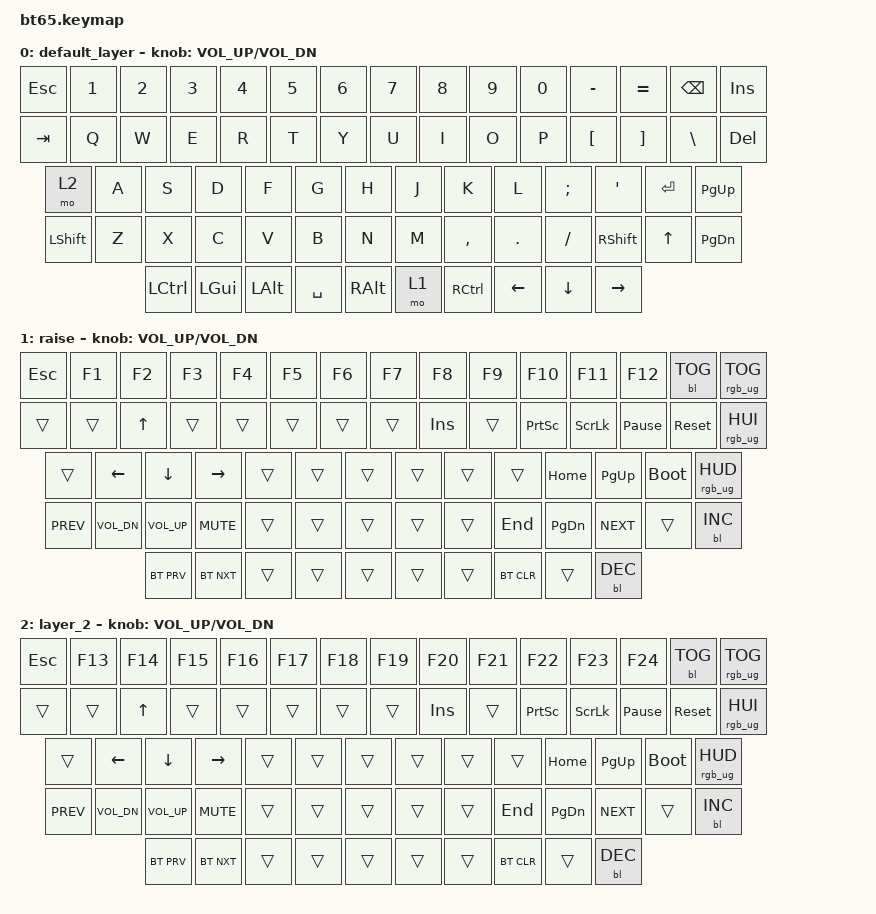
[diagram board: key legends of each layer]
#include <behaviors.dtsi>
#include <dt-bindings/zmk/keys.h>
#include <dt-bindings/zmk/bt.h>
#include <dt-bindings/zmk/rgb.h>
#include <dt-bindings/zmk/backlight.h>
#include <dt-bindings/zmk/ext_power.h>

&kscan0 {
    debounce-press-ms = <27>;
    debounce-release-ms = <3>;
};

/ {
	keymap {
		compatible = "zmk,keymap";

		default_layer {
				// ------------------------------------------------------------------------------------------------------------
				// |  `  |  1  |  2  |  3  |  4  |  5  |  6  |  7  |  8  |  9  |  0  |  -  |  =  |BKSP | INS		|
				// | TAB  |  Q  |  W  |  E  |  R  |  T  |  Y  |  U  |  I  |  O  |  P  |  [  |  ]  |   \    | DEL		|
				// | CAPS  |  A  |  S  |  D  |  F  |  G  |  H  |  J  |  K  |  L  |  ;  |  '  |     ENTER    |PGUP	|
				// |  SHIFT  |  Z  |  X  |  C  |  V  |  B  |  N  |  M  |  ,  |  .  | /   |   SHIFT  | UP   | PGDN|
				// |  CTL  |  WIN  |  ALT  |            SPACE               | ALT | 1    |  MENU| LEFT |  DOWN    | RIGHT	|
				// ------------------------------------------------------------------------------------------------------------
			bindings = <

				&kp ESC &kp N1 &kp N2 &kp N3 &kp N4 &kp N5 &kp N6 &kp N7 &kp  N8   &kp  N9   &kp N0 &kp MINUS &kp EQUAL &kp BKSP &kp INS
				&kp TAB  &kp Q  &kp W  &kp E  &kp R  &kp T  &kp Y  &kp U  &kp  I    &kp  O  &kp  P   &kp LBKT &kp RBKT  	&kp BSLH &kp DEL
				&mo 2  &kp A  &kp S  &kp D  &kp F  &kp G  &kp H  &kp J  &kp  K    &kp  L  &kp SEMI &kp SQT           	&kp RET &kp PG_UP
				&kp LSHFT &kp Z  &kp X  &kp C  &kp V  &kp B  &kp N  &kp M  &kp COMMA &kp DOT &kp FSLH   &kp RSHFT &kp UP &kp PG_DN
				&kp LCTRL &kp LGUI &kp LALT            &kp SPACE                          &kp RALT  &mo 1 &kp RCTRL &kp LEFT &kp DOWN &kp RIGHT
			>;
			sensor-bindings = <&inc_dec_kp C_VOL_UP C_VOL_DN>;
		};
		raise {
			bindings = <
				&kp ESC &kp F1 &kp F2 &kp F3 &kp F4 &kp F5 &kp F6 &kp F7 &kp  F8   &kp  F9   &kp F10  &kp F11 &kp F12 &bl BL_TOG &rgb_ug RGB_TOG
				&trans &trans &kp UP &trans &trans &trans &trans &trans &kp INS &trans &kp PSCRN &kp SLCK &kp PAUSE_BREAK &sys_reset &rgb_ug RGB_HUI
				&trans    &kp LEFT &kp DOWN &kp RIGHT &trans &trans &trans &trans &trans &trans &kp HOME  &kp PG_UP   &bootloader &rgb_ug RGB_HUD
				&kp C_PREV &kp C_VOL_DN &kp C_VOL_UP &kp C_MUTE &trans &trans &trans &trans &trans &kp END &kp PG_DN  &kp C_NEXT &trans &bl BL_INC
				&bt BT_PRV &bt BT_NXT  &trans              &trans                            &trans   &trans   &trans &bt BT_CLR &trans &bl BL_DEC
			>;
			sensor-bindings = <&inc_dec_kp C_VOL_UP C_VOL_DN>;
		};
		layer_2 {
			bindings = <
				&kp ESC &kp F13 &kp F14 &kp F15 &kp F16 &kp F17 &kp F18 &kp F19 &kp  F20   &kp  F21   &kp F22  &kp F23 &kp F24 &bl BL_TOG &rgb_ug RGB_TOG
				&trans &trans &kp UP &trans &trans &trans &trans &trans &kp INS &trans &kp PSCRN &kp SLCK &kp PAUSE_BREAK &sys_reset &rgb_ug RGB_HUI
				&trans    &kp LEFT &kp DOWN &kp RIGHT &trans &trans &trans &trans &trans &trans &kp HOME  &kp PG_UP   &bootloader &rgb_ug RGB_HUD
				&kp C_PREV &kp C_VOL_DN &kp C_VOL_UP &kp C_MUTE &trans &trans &trans &trans &trans &kp END &kp PG_DN  &kp C_NEXT &trans &bl BL_INC
				&bt BT_PRV &bt BT_NXT  &trans              &trans                            &trans   &trans   &trans &bt BT_CLR &trans &bl BL_DEC
			>;
			sensor-bindings = <&inc_dec_kp C_VOL_UP C_VOL_DN>;
		};
	};
};
